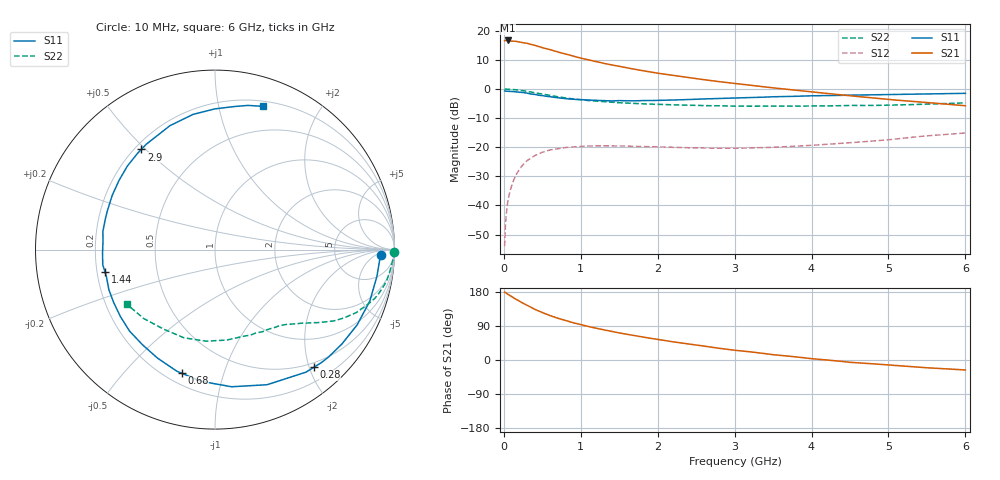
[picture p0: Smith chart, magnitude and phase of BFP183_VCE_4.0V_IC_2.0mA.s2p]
! Infineon Technologies  Discrete & RF Semiconductors
! BFP183
! VCE = 4.0 V,  IC =  2.0 mA
! Common Emitter S-Parameters:  Jan 2016
# GHz  S  MA  R  50
!  f  S11  S21  S12  S22
! GHz  MAG  ANG  MAG  ANG  MAG  ANG  MAG  ANG
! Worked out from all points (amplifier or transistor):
!   210 points, 10 MHz to 6 GHz, reference 50 ohm
!   highest |S21| = 16.7 dB at 50 MHz (marker M1)
!   |S21| within 3 dB of that: start of sweep to 577.6 MHz
!   unconditionally stable (mu >= 1): 2.12 GHz to 5.862 GHz
!   at 185 MHz: K = 0.09, MSG = 22.3 dB, |S12| = -28.3 dB
!   at 1.52 GHz: K = 0.71, MSG = 13.6 dB, |S12| = -19.6 dB
!   at 6 GHz: K = 0.97, MSG = 4.7 dB, |S12| = -15.1 dB
!   S11 on the Smith chart (normalised r, x): 10 MHz: 22, -10; 280 MHz: 0.42, -2.07; 680 MHz: 0.26, -0.73; 1.44 GHz: 0.23, -0.09; 2.9 GHz: 0.23, +0.48; 6 GHz: 0.25, +1.36
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0.01  0.9258 -2.0  6.736 179.0  0.002 89.6  0.9991 -0.7
0.025  0.9178 -4.6  6.794 177.4  0.0055 87.5  0.9927 -1.7
0.05  0.9144 -9.4  6.805 173.7  0.0114 87.0  0.9915 -3.5
0.095  0.9084 -17.5  6.637 168.3  0.0205 79.0  0.9827 -6.6
0.16  0.8916 -29.6  6.567 160.1  0.0337 72.8  0.9681 -11.0
0.2  0.8812 -36.6  6.436 155.4  0.0412 69.5  0.9541 -13.5
0.28  0.8561 -50.0  6.138 146.7  0.0552 62.0  0.9194 -18.1
0.4  0.8069 -68.9  5.638 133.9  0.0715 52.5  0.8623 -24.0
0.5  0.7698 -83.1  5.121 125.1  0.0818 45.1  0.815 -27.8
0.6  0.7378 -96.0  4.74 117.2  0.0897 39.6  0.7732 -30.9
0.68  0.7133 -105.1  4.399 111.8  0.0935 35.7  0.7417 -32.8
0.82  0.679 -119.9  3.935 102.9  0.0992 29.9  0.6964 -35.8
1.02  0.6544 -138.0  3.34 92.1  0.1036 23.4  0.6481 -39.2
1.2  0.6369 -152.4  2.939 83.8  0.1057 18.8  0.6188 -41.8
1.44  0.6255 -168.7  2.531 73.9  0.1055 14.9  0.5875 -45.1
1.68  0.6253 177.0  2.203 65.0  0.1036 12.3  0.5629 -48.5
2.02  0.6374 160.0  1.849 53.7  0.1017 10.5  0.5437 -53.3
2.9  0.6929 126.4  1.289 28.4  0.0959 12.9  0.5116 -69.5
3.1  0.7045 120.5  1.202 23.8  0.0965 14.7  0.5068 -73.9
4.1  0.7659 97.3  0.865 1.8  0.11 22.3  0.512 -98.4
5.1  0.8054 82.0  0.644 -14.5  0.1386 26.0  0.5302 -125.5
6  0.8415 71.5  0.515 -26.4  0.1753 21.2  0.5784 -148.4
